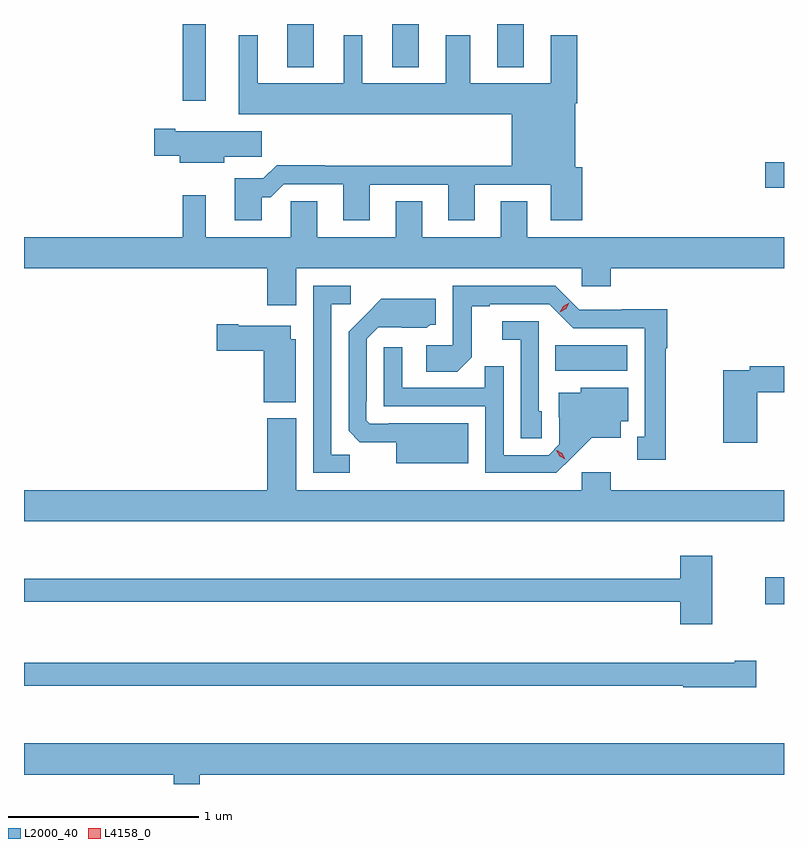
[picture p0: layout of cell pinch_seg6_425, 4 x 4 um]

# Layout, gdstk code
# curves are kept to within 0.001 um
import gdstk
lib = gdstk.Library(unit=1e-6, precision=1e-09)
def R(c, l, rs):  # rectangles x0, y0, x1, y1
    for r in rs: c.add(gdstk.rectangle(r[:2], r[2:], *l))
def A(c, l, x, y, w, h, nx, ny, dx, dy):  # array of equal rectangles
    R(c, l, [(x+i*dx, y+j*dy, x+i*dx+w, y+j*dy+h) for i in range(nx) for j in range(ny)])
def P(c, l, *ps):  # polygons
    for p in ps: c.add(gdstk.Polygon(p, *l))
L2000_40 = (2000, 40)
L4158_0 = (4158, 0)

pinch_seg6_425 = lib.new_cell('pinch_seg6_425')
A(pinch_seg6_425, L2000_40, 712.937, 927.083, 0.14, 0.227, 3, 1, 0.552, 0)
R(pinch_seg6_425, L2000_40, [(715.452,924.257,715.551,924.399), (714.346,925.484,714.727,925.618), (715.452,926.447,715.551,926.582), (712.386,926.907,712.507,927.31)])
P(pinch_seg6_425, L2000_40, [(712.801,926.399),(712.85,926.399),(712.917,926.466),(713.231,926.466),(713.231,926.277),(713.371,926.277),(713.371,926.463),(713.783,926.463),(713.783,926.277),(713.923,926.277),(713.923,926.463),(714.323,926.463),(714.323,926.277),(714.488,926.277),(714.488,926.556),(714.451,926.556),(714.451,926.894),(714.464,926.894),(714.464,927.25),(714.323,927.25),(714.323,926.998),(713.899,926.998),(713.899,927.25),(713.771,927.25),(713.771,926.998),(713.332,926.998),(713.332,927.25),(713.234,927.25),(713.234,926.998),(712.78,926.998),(712.78,927.25),(712.682,927.25),(712.682,926.834),(714.119,926.834),(714.119,926.564),(713.135,926.564),(713.135,926.567),(712.88,926.567),(712.81,926.497),(712.661,926.497),(712.661,926.277),(712.801,926.277)],
  [(712.606,926.611),(712.801,926.611),(712.801,926.746),(712.348,926.746),(712.348,926.759),(712.236,926.759),(712.236,926.617),(712.37,926.617),(712.37,926.579),(712.606,926.579)],
  [(712.984,926.024),(714.486,926.024),(714.486,925.931),(714.638,925.931),(714.638,926.024),(715.551,926.024),(715.551,926.188),(714.199,926.188),(714.199,926.378),(714.059,926.378),(714.059,926.188),(713.647,926.188),(713.647,926.378),(713.507,926.378),(713.507,926.188),(713.095,926.188),(713.095,926.378),(712.956,926.378),(712.956,926.188),(712.507,926.188),(712.507,926.41),(712.386,926.41),(712.386,926.188),(711.551,926.188),(711.551,926.024),(712.832,926.024),(712.832,925.83),(712.984,925.83)],
  [(714.929,925.603),(714.937,925.603),(714.937,925.808),(714.696,925.808),(714.696,925.806),(714.474,925.806),(714.348,925.932),(713.808,925.932),(713.808,925.62),(713.667,925.62),(713.667,925.48),(713.831,925.48),(713.907,925.556),(713.907,925.824),(714.001,925.824),(714.001,925.836),(714.315,925.836),(714.441,925.71),(714.818,925.71),(714.818,925.137),(714.779,925.137),(714.779,925.017),(714.929,925.017)],
  [(713.265,925.043),(713.169,925.043),(713.169,925.836),(713.272,925.836),(713.272,925.932),(713.073,925.932),(713.073,924.948),(713.265,924.948)],
  [(713.89,925.21),(713.47,925.21),(713.47,925.206),(713.37,925.206),(713.352,925.224),(713.352,925.324),(713.355,925.324),(713.355,925.653),(713.415,925.713),(713.672,925.712),(713.688,925.728),(713.719,925.728),(713.719,925.864),(713.431,925.864),(713.259,925.69),(713.259,925.168),(713.318,925.109),(713.51,925.109),(713.51,924.998),(713.89,924.998)],
  [(714.276,925.272),(714.261,925.272),(714.261,925.746),(714.069,925.746),(714.069,925.649),(714.165,925.649),(714.165,925.129),(714.276,925.129)],
  [(712.981,925.65),(712.954,925.65),(712.954,925.723),(712.678,925.723),(712.678,925.731),(712.566,925.731),(712.566,925.589),(712.814,925.589),(712.814,925.319),(712.981,925.319)],
  [(714.436,925.031),(714.539,925.133),(714.691,925.133),(714.691,925.22),(714.73,925.22),(714.73,925.396),(714.48,925.396),(714.48,925.369),(714.365,925.369),(714.365,925.24),(714.369,925.24),(714.369,925.098),(714.312,925.041),(714.075,925.041),(714.075,925.508),(713.977,925.508),(713.977,925.395),(713.541,925.395),(713.541,925.609),(713.445,925.609),(713.445,925.299),(713.979,925.299),(713.979,924.948),(714.352,924.948)],
  [(715.409,925.372),(715.551,925.372),(715.551,925.508),(715.372,925.508),(715.372,925.488),(715.231,925.488),(715.231,925.107),(715.409,925.107)],
  [(715.551,924.856),(714.638,924.856),(714.638,924.952),(714.486,924.952),(714.486,924.856),(712.984,924.856),(712.984,925.234),(712.832,925.234),(712.832,924.856),(711.551,924.856),(711.551,924.692),(715.551,924.692)],
  [(715.174,924.511),(715.004,924.511),(715.004,924.391),(711.551,924.391),(711.551,924.27),(715.004,924.27),(715.004,924.15),(715.174,924.15)],
  [(715.405,923.96),(715.292,923.96),(715.292,923.947),(711.551,923.947),(711.551,923.826),(715.02,923.826),(715.02,923.818),(715.405,923.818)],
  [(712.475,923.36),(715.551,923.36),(715.551,923.524),(711.551,923.524),(711.551,923.36),(712.339,923.36),(712.339,923.31),(712.475,923.31)])
P(pinch_seg6_425, L4158_0, [(714.4,925.02),(714.37,925.036),(714.353,925.066),(714.353,925.066),(714.354,925.066),(714.384,925.05),(714.4,925.02),(714.4,925.02)],
  [(714.372,925.792),(714.372,925.793),(714.39,925.825),(714.422,925.844),(714.422,925.844),(714.422,925.843),(714.404,925.811),(714.372,925.792)])

lib.write_gds('pinch_seg6_425.gds')
